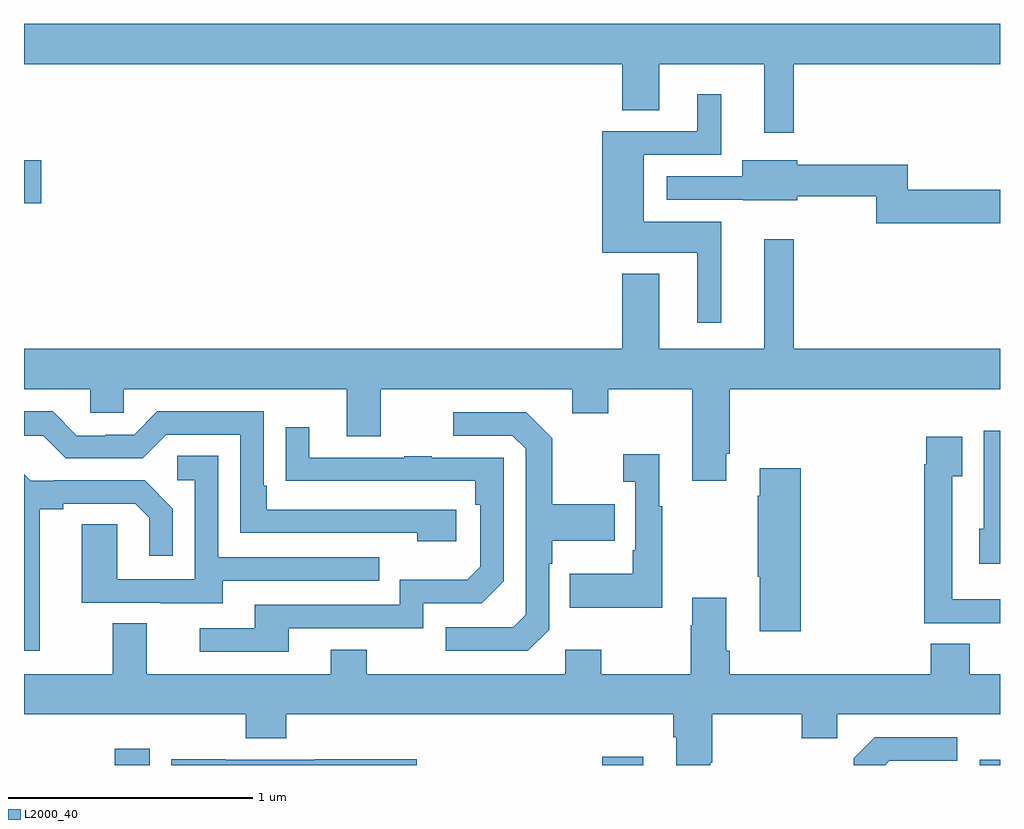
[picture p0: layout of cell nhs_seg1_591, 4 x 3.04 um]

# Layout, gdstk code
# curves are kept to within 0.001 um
import gdstk
lib = gdstk.Library(unit=1e-6, precision=1e-09)
def R(c, l, rs):  # rectangles x0, y0, x1, y1
    for r in rs: c.add(gdstk.rectangle(r[:2], r[2:], *l))
def P(c, l, *ps):  # polygons
    for p in ps: c.add(gdstk.Polygon(p, *l))
L2000_40 = (2000, 40)

nhs_seg1_591 = lib.new_cell('nhs_seg1_591')
R(nhs_seg1_591, L2000_40, [(143.372,542.199,143.515,542.266), (145.37,542.199,145.537,542.233), (146.916,542.199,147,542.22), (143,544.502,143.071,544.678)])
P(nhs_seg1_591, L2000_40, [(146.155,545.072),(147,545.072),(147,545.236),(143,545.236),(143,545.072),(145.451,545.072),(145.451,544.882),(145.603,544.882),(145.603,545.072),(146.033,545.072),(146.033,544.791),(146.155,544.791)],
  [(145.858,544.426),(145.54,544.426),(145.54,544.701),(145.858,544.701),(145.858,544.948),(145.76,544.948),(145.76,544.797),(145.37,544.797),(145.37,544.298),(145.76,544.298),(145.76,544.011),(145.858,544.011)],
  [(147,544.556),(146.621,544.556),(146.621,544.66),(146.17,544.66),(146.17,544.678),(145.943,544.678),(145.943,544.611),(145.635,544.611),(145.635,544.515),(145.947,544.515),(145.947,544.514),(146.17,544.514),(146.17,544.531),(146.493,544.531),(146.493,544.42),(147,544.42)],
  [(145.879,543.475),(145.892,543.475),(145.892,543.74),(147,543.74),(147,543.904),(146.155,543.904),(146.155,544.354),(146.033,544.354),(146.033,543.904),(145.603,543.904),(145.603,544.213),(145.451,544.213),(145.451,543.904),(143,543.904),(143,543.74),(143.271,543.74),(143.271,543.642),(143.409,543.642),(143.409,543.74),(144.323,543.74),(144.323,543.546),(144.463,543.546),(144.463,543.74),(145.247,543.74),(145.247,543.641),(145.395,543.641),(145.395,543.74),(145.739,543.74),(145.739,543.363),(145.879,543.363)],
  [(144.772,543.246),(143.995,543.246),(143.995,543.343),(143.982,543.343),(143.982,543.648),(143.547,543.648),(143.451,543.552),(143.333,543.552),(143.333,543.549),(143.217,543.549),(143.117,543.649),(143,543.649),(143,543.549),(143.079,543.549),(143.172,543.456),(143.487,543.456),(143.583,543.552),(143.886,543.552),(143.886,543.15),(144.611,543.15),(144.611,543.116),(144.772,543.116)],
  [(145.152,542.754),(145.152,543.023),(145.165,543.023),(145.165,543.119),(145.421,543.119),(145.421,543.267),(145.165,543.267),(145.165,543.539),(145.059,543.645),(144.759,543.645),(144.759,543.549),(145.002,543.549),(145.056,543.495),(145.056,542.814),(145.005,542.763),(144.729,542.763),(144.729,542.667),(145.065,542.667)],
  [(144.085,542.76),(144.636,542.76),(144.636,542.862),(144.876,542.862),(144.966,542.952),(144.966,543.459),(144.671,543.459),(144.671,543.464),(144.559,543.464),(144.559,543.459),(144.169,543.459),(144.169,543.583),(144.073,543.583),(144.073,543.364),(144.85,543.363),(144.85,543.266),(144.87,543.266),(144.87,543.012),(144.817,542.959),(144.54,542.959),(144.54,542.856),(143.945,542.856),(143.945,542.76),(143.721,542.76),(143.721,542.664),(144.085,542.664)],
  [(147,543.568),(146.933,543.568),(146.933,543.168),(146.915,543.168),(146.915,543.024),(147,543.024)],
  [(147,542.878),(146.805,542.878),(146.805,543.383),(146.845,543.383),(146.845,543.544),(146.697,543.544),(146.697,543.431),(146.689,543.431),(146.689,542.781),(146.939,542.781),(146.939,542.78),(147,542.78)],
  [(145.615,543.259),(145.603,543.259),(145.603,543.472),(145.455,543.472),(145.455,543.359),(145.506,543.359),(145.506,543.079),(145.494,543.079),(145.494,542.983),(145.237,542.983),(145.237,542.843),(145.615,542.843)],
  [(143.815,542.955),(144.455,542.955),(144.455,543.051),(143.796,543.051),(143.796,543.467),(143.628,543.467),(143.628,543.366),(143.7,543.366),(143.7,542.961),(143.382,542.961),(143.382,543.185),(143.237,543.185),(143.237,542.865),(143.561,542.865),(143.561,542.861),(143.815,542.861)],
  [(146.183,543.415),(146.015,543.415),(146.015,543.302),(146.008,543.302),(146.008,542.971),(146.015,542.971),(146.015,542.748),(146.183,542.748)],
  [(143.065,543.248),(143.161,543.248),(143.161,543.27),(143.456,543.27),(143.513,543.213),(143.513,543.057),(143.61,543.057),(143.61,543.25),(143.494,543.366),(143.122,543.366),(143.122,543.363),(143.028,543.363),(143,543.391),(143,542.667),(143.065,542.667)],
  [(145.365,542.671),(145.218,542.671),(145.218,542.572),(144.405,542.572),(144.405,542.671),(144.257,542.671),(144.257,542.572),(143.503,542.572),(143.503,542.78),(143.363,542.78),(143.363,542.572),(143,542.572),(143,542.408),(143.909,542.408),(143.909,542.309),(144.074,542.309),(144.074,542.408),(145.661,542.408),(145.661,542.312),(145.673,542.312),(145.673,542.199),(145.813,542.199),(145.813,542.209),(145.821,542.209),(145.821,542.408),(146.188,542.408),(146.188,542.309),(146.334,542.309),(146.334,542.408),(147,542.408),(147,542.572),(146.877,542.572),(146.877,542.696),(146.717,542.696),(146.717,542.572),(145.892,542.572),(145.892,542.668),(145.879,542.668),(145.879,542.884),(145.739,542.884),(145.739,542.771),(145.732,542.771),(145.732,542.572),(145.365,542.572)],
  [(146.547,542.217),(146.824,542.217),(146.824,542.313),(146.487,542.313),(146.4,542.226),(146.4,542.199),(146.529,542.199)],
  [(144.61,542.222),(144.191,542.222),(144.191,542.22),(143.825,542.22),(143.825,542.222),(143.604,542.222),(143.604,542.199),(144.61,542.199)])

lib.write_gds('nhs_seg1_591.gds')
